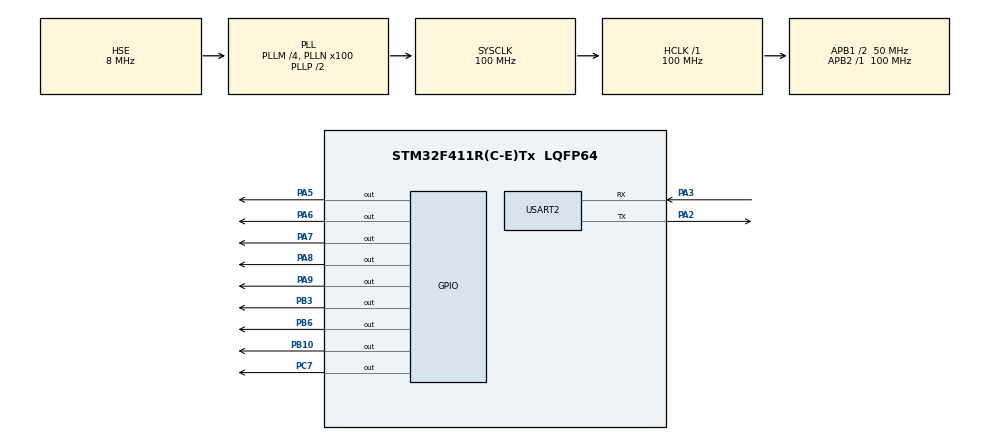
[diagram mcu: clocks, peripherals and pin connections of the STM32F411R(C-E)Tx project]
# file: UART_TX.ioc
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Mcu.Family=STM32F4
Mcu.Name=STM32F411R(C-E)Tx
Mcu.Package=LQFP64
NVIC.PriorityGroup=NVIC_PRIORITYGROUP_4
NVIC.USART2_IRQn=true\:0\:0\:false\:false\:true\:true\:true\:true
PA13.Mode=Serial_Wire
PA13.Signal=SYS_JTMS-SWDIO
PA14.Mode=Serial_Wire
PA14.Signal=SYS_JTCK-SWCLK
PA2.Mode=Asynchronous
PA2.Signal=USART2_TX
PA3.Mode=Asynchronous
PA3.Signal=USART2_RX
PA5.Signal=GPIO_Output
PA6.Signal=GPIO_Output
PA7.Signal=GPIO_Output
PA8.Signal=GPIO_Output
PA9.Signal=GPIO_Output
PB10.Signal=GPIO_Output
PB3.Signal=GPIO_Output
PB6.Signal=GPIO_Output
PC7.Signal=GPIO_Output
PH0\ -\ OSC_IN.Mode=HSE-External-Oscillator
PH0\ -\ OSC_IN.Signal=RCC_OSC_IN
PH1\ -\ OSC_OUT.Mode=HSE-External-Oscillator
PH1\ -\ OSC_OUT.Signal=RCC_OSC_OUT
ProjectManager.HeapSize=0x200
ProjectManager.StackSize=0x400
ProjectManager.TargetToolchain=STM32CubeIDE
RCC.48MHZClocksFreq_Value=50000000
RCC.AHBFreq_Value=100000000
RCC.APB1CLKDivider=RCC_HCLK_DIV2
RCC.APB1Freq_Value=50000000
RCC.APB1TimFreq_Value=100000000
RCC.APB2Freq_Value=100000000
RCC.APB2TimFreq_Value=100000000
RCC.CortexFreq_Value=100000000
RCC.HCLKFreq_Value=100000000
RCC.HSE_VALUE=8000000
RCC.HSI_VALUE=16000000
RCC.LSE_VALUE=32768
RCC.PLLM=4
RCC.PLLN=100
RCC.PLLSourceVirtual=RCC_PLLSOURCE_HSE
RCC.SYSCLKFreq_VALUE=100000000
RCC.SYSCLKSource=RCC_SYSCLKSOURCE_PLLCLK
RCC.VCOOutputFreq_Value=200000000
USART2.VirtualMode=VM_ASYNC
board=custom

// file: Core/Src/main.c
/* USER CODE BEGIN Header */
/**
  ******************************************************************************
  * @file           : main.c
  * @brief          : Main program body
  ******************************************************************************
  * @attention
  *
  * Copyright (c) 2024 STMicroelectronics.
  * All rights reserved.
  *
  * This software is licensed under terms that can be found in the LICENSE file
  * in the root directory of this software component.
  * If no LICENSE file comes with this software, it is provided AS-IS.
  *
  ******************************************************************************
  */
/* USER CODE END Header */
#include "main.h"
#include "usart.h"
#include "gpio.h"

/* USER CODE BEGIN PV */

uint8_t rxData;
/* USER CODE END PV */

void SystemClock_Config(void);
/* USER CODE BEGIN PFP */

void HAL_UART_RxCpltCallback(UART_HandleTypeDef *huart)
{
  if(huart->Instance == USART2)
  {
    HAL_UART_Transmit_IT(&huart2, &rxData, sizeof(rxData));
    HAL_UART_Receive_IT(&huart2, &rxData, sizeof(rxData));
  }
}
/* USER CODE END PFP */

int main(void)
{

  /* MCU Configuration--------------------------------------------------------*/

  /* Reset of all peripherals, Initializes the Flash interface and the Systick. */
  HAL_Init();

  /* Configure the system clock */
  SystemClock_Config();

  /* Initialize all configured peripherals */
  MX_GPIO_Init();
  MX_USART2_UART_Init();
  /* USER CODE BEGIN 2 */
  GPIO_TypeDef *LED_GPIO[8] =
       {GPIOA, GPIOA, GPIOA, GPIOB, GPIOC,GPIOA, GPIOA, GPIOB};
   uint16_t LED_GPIO_PIN[8] =
       {GPIO_PIN_5, GPIO_PIN_6, GPIO_PIN_7, GPIO_PIN_6,
           GPIO_PIN_7, GPIO_PIN_9, GPIO_PIN_8, GPIO_PIN_10};

  HAL_UART_Receive_IT(&huart2, &rxData, sizeof(rxData));
  /* USER CODE END 2 */

  /* Infinite loop */
  while (1)
  {

    /* USER CODE BEGIN 3 */
    uint8_t currState = rxData;
       if (currState == '1')
       {
         for (int var = 0; var < 8; var++)
         {
           HAL_GPIO_WritePin(LED_GPIO[var], LED_GPIO_PIN[var], 1);
         }
       }
       if (currState == '0')
          {
            for (int var = 0; var < 8; var++)
            {
              HAL_GPIO_WritePin(LED_GPIO[var], LED_GPIO_PIN[var], 0);
            }
          }
     }
  }
  /* USER CODE END 3 */

void SystemClock_Config(void)
{
  RCC_OscInitTypeDef RCC_OscInitStruct = {0};
  RCC_ClkInitTypeDef RCC_ClkInitStruct = {0};

  /** Configure the main internal regulator output voltage
  */
  __HAL_RCC_PWR_CLK_ENABLE();
  __HAL_PWR_VOLTAGESCALING_CONFIG(PWR_REGULATOR_VOLTAGE_SCALE1);

  /** Initializes the RCC Oscillators according to the specified parameters
  * in the RCC_OscInitTypeDef structure.
  */
  RCC_OscInitStruct.OscillatorType = RCC_OSCILLATORTYPE_HSE;
  RCC_OscInitStruct.HSEState = RCC_HSE_ON;
  RCC_OscInitStruct.PLL.PLLState = RCC_PLL_ON;
  RCC_OscInitStruct.PLL.PLLSource = RCC_PLLSOURCE_HSE;
  RCC_OscInitStruct.PLL.PLLM = 4;
  RCC_OscInitStruct.PLL.PLLN = 100;
  RCC_OscInitStruct.PLL.PLLP = RCC_PLLP_DIV2;
  RCC_OscInitStruct.PLL.PLLQ = 4;
  if (HAL_RCC_OscConfig(&RCC_OscInitStruct) != HAL_OK)
  {
    Error_Handler();
  }

  /** Initializes the CPU, AHB and APB buses clocks
  */
  RCC_ClkInitStruct.ClockType = RCC_CLOCKTYPE_HCLK|RCC_CLOCKTYPE_SYSCLK
                              |RCC_CLOCKTYPE_PCLK1|RCC_CLOCKTYPE_PCLK2;
  RCC_ClkInitStruct.SYSCLKSource = RCC_SYSCLKSOURCE_PLLCLK;
  RCC_ClkInitStruct.AHBCLKDivider = RCC_SYSCLK_DIV1;
  RCC_ClkInitStruct.APB1CLKDivider = RCC_HCLK_DIV2;
  RCC_ClkInitStruct.APB2CLKDivider = RCC_HCLK_DIV1;

  if (HAL_RCC_ClockConfig(&RCC_ClkInitStruct, FLASH_LATENCY_3) != HAL_OK)
  {
    Error_Handler();
  }
}

void Error_Handler(void)
{
  __disable_irq();
  while (1)
  {
  }
}
